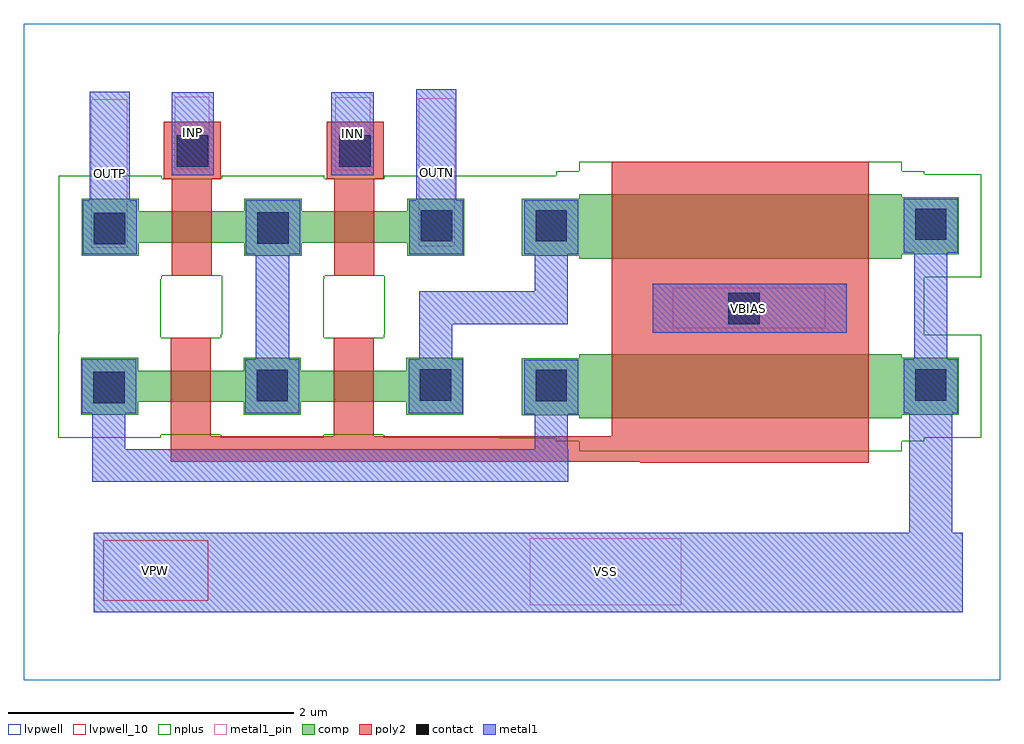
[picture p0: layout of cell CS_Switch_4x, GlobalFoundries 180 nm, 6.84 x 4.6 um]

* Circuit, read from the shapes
.subckt CS_Switch_4x INN INP OUTN OUTP VBIAS VSS
XM1 n1 VBIAS n2 VSUBS nfet_03v3 w=0.22u l=0.28u
XM2 n1 INP OUTP VSUBS nfet_03v3 w=0.22u l=0.28u
XM3 n3 VBIAS n1 VSUBS nfet_03v3 w=0.22u l=0.28u
XM4 OUTN INN n1 VSUBS nfet_03v3 w=0.22u l=0.28u
XM5 VSS VBIAS n2 VSUBS nfet_03v3 w=0.45u l=1.8u
XM6 VSS VBIAS n3 VSUBS nfet_03v3 w=0.45u l=1.8u
.ends

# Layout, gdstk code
import gdstk
lib = gdstk.Library(unit=1e-6, precision=1e-09)
def R(c, l, rs):  # rectangles x0, y0, x1, y1
    for r in rs: c.add(gdstk.rectangle(r[:2], r[2:], *l))
def A(c, l, x, y, w, h, nx, ny, dx, dy):  # array of equal rectangles
    R(c, l, [(x+i*dx, y+j*dy, x+i*dx+w, y+j*dy+h) for i in range(nx) for j in range(ny)])
comp = (22, 0)
poly2 = (30, 0)
nplus = (32, 0)
contact = (33, 0)
metal1 = (34, 0)
metal1_pin = (34, 10)
lvpwell = (204, 0)
lvpwell_10 = (204, 10)

cs_switch_4x = lib.new_cell('CS_Switch_4x')
A(cs_switch_4x, comp, -1.48, -5.34, 0.4, 0.09, 3, 2, 1.14, 0.31)
A(cs_switch_4x, comp, -1.475, -4.225, 0.4, 0.09, 3, 2, 1.14, 0.31)
R(cs_switch_4x, comp, [(2.01,-5.365,4.27,-5.345), (1.61,-5.345,4.27,-5.34), (1.61,-5.34,4.67,-4.945), (-1.48,-5.25,1.2,-5.03), (2.01,-4.945,4.67,-4.94), (2.01,-4.94,4.27,-4.915), (2.01,-4.245,4.27,-4.225), (1.61,-4.225,4.27,-4.215), (1.61,-4.215,4.67,-3.825), (-1.475,-4.135,1.205,-3.915), (2.01,-3.825,4.67,-3.815), (2.01,-3.815,4.27,-3.795)])
R(cs_switch_4x, poly2, [(2.44,-5.675,4.04,-5.67), (-0.85,-5.67,4.04,-5.49), (-0.85,-5.49,-0.57,-4.8), (0.29,-5.49,0.57,-4.8), (2.24,-5.49,4.04,-3.565), (-0.845,-4.365,-0.565,-3.685), (0.295,-4.365,0.575,-3.685), (-0.9,-3.685,-0.5,-3.285), (0.24,-3.685,0.64,-3.285)])
R(cs_switch_4x, nplus, [(2.01,-5.595,4.27,-5.525), (1.85,-5.525,4.43,-5.505), (1.45,-5.505,4.43,-5.5), (-1.64,-5.5,-0.92,-5.48), (-0.5,-5.5,0.22,-5.48), (0.64,-5.5,4.83,-5.48), (-1.64,-5.48,4.83,-4.8), (-1.64,-4.8,-0.92,-4.78), (-0.5,-4.8,0.22,-4.78), (0.64,-4.8,4.83,-4.78), (-1.635,-4.78,-0.92,-4.385), (-0.495,-4.78,0.22,-4.385), (0.645,-4.78,4.43,-4.375), (-1.635,-4.385,-0.915,-4.365), (-0.495,-4.385,0.225,-4.365), (0.645,-4.375,4.83,-4.365), (-1.635,-4.365,4.83,-3.685), (-1.635,-3.685,-0.915,-3.665), (-0.495,-3.685,0.225,-3.665), (0.645,-3.685,4.83,-3.665), (1.85,-3.665,4.83,-3.655), (1.85,-3.655,4.43,-3.635), (2.01,-3.635,4.27,-3.565)])
R(cs_switch_4x, contact, [(-1.395,-5.26,-1.175,-5.04), (-0.25,-5.245,-0.03,-5.025), (1.705,-5.245,1.925,-5.025), (0.895,-5.24,1.115,-5.02), (4.365,-5.24,4.585,-5.02), (3.055,-4.705,3.275,-4.485), (-1.39,-4.145,-1.17,-3.925), (-0.245,-4.14,-0.025,-3.92), (0.9,-4.125,1.12,-3.905), (1.705,-4.125,1.925,-3.905), (4.365,-4.115,4.585,-3.895), (-0.81,-3.6,-0.59,-3.38), (0.33,-3.6,0.55,-3.38)])
A(cs_switch_4x, metal1, -1.475, -5.33, 0.38, 0.38, 3, 1, 1.145, 0)
A(cs_switch_4x, metal1, -1.47, -4.215, 0.38, 0.38, 3, 1, 1.145, 0)
R(cs_switch_4x, metal1, [(-1.39,-6.725,4.7,-6.165), (4.325,-6.165,4.625,-5.33), (-1.4,-5.81,1.935,-5.58), (-1.4,-5.58,-1.17,-5.33), (1.7,-5.58,1.93,-5.335), (1.625,-5.335,2.005,-4.955), (4.285,-5.33,4.665,-4.95), (-0.255,-4.95,-0.02,-4.215), (0.89,-4.95,1.12,-4.705), (4.36,-4.95,4.59,-4.205), (2.525,-4.765,3.885,-4.42), (0.89,-4.705,1.93,-4.475), (1.7,-4.475,1.93,-4.215), (1.625,-4.215,2.005,-3.835), (4.285,-4.205,4.665,-3.825), (-1.42,-3.835,-1.14,-3.075), (0.87,-3.835,1.15,-3.06), (-0.845,-3.66,-0.55,-3.08), (0.275,-3.66,0.57,-3.08)])
R(cs_switch_4x, metal1_pin, [(1.665,-6.675,2.725,-6.205), (2.665,-4.735,3.735,-4.45), (-1.41,-4.17,-1.155,-3.13), (0.885,-4.16,1.14,-3.12), (0.3,-3.625,0.545,-3.115), (-0.825,-3.62,-0.58,-3.11)])
R(cs_switch_4x, lvpwell, [(-1.88,-7.2,4.96,-2.6)])
R(cs_switch_4x, lvpwell_10, [(-1.325,-6.645,-0.59,-6.22)])
cs_switch_4x.add(gdstk.Label('INP', (-0.702,-3.365), layer=34, texttype=10))
cs_switch_4x.add(gdstk.Label('INN', (0.422,-3.37), layer=34, texttype=10))
cs_switch_4x.add(gdstk.Label('OUTP', (-1.282,-3.65), layer=34, texttype=10))
cs_switch_4x.add(gdstk.Label('OUTN', (1.012,-3.64), layer=34, texttype=10))
cs_switch_4x.add(gdstk.Label('VBIAS', (3.2,-4.592), layer=34, texttype=10))
cs_switch_4x.add(gdstk.Label('VSS', (2.195,-6.44), layer=34, texttype=10))
cs_switch_4x.add(gdstk.Label('VPW', (-0.957,-6.432), layer=204, texttype=10))

lib.write_gds('CS_Switch_4x.gds')
